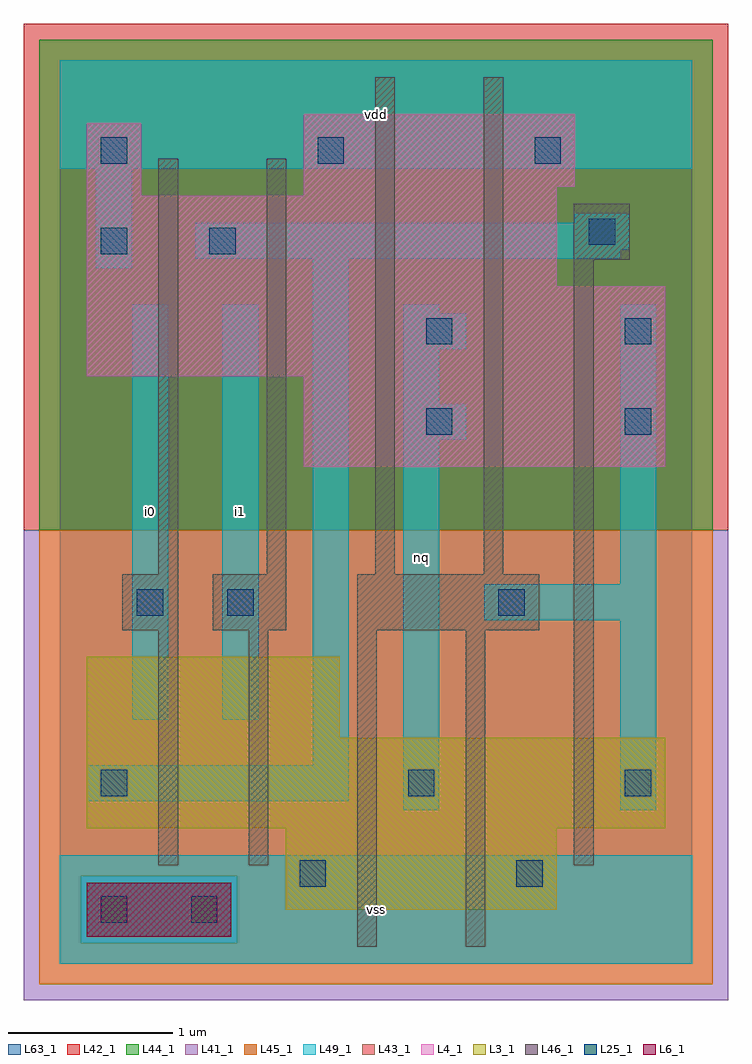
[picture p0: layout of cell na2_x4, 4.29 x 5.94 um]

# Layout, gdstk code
import gdstk
lib = gdstk.Library(unit=1e-6, precision=1e-09)
def R(c, l, rs):  # rectangles x0, y0, x1, y1
    for r in rs: c.add(gdstk.rectangle(r[:2], r[2:], *l))
def A(c, l, x, y, w, h, nx, ny, dx, dy):  # array of equal rectangles
    R(c, l, [(x+i*dx, y+j*dy, x+i*dx+w, y+j*dy+h) for i in range(nx) for j in range(ny)])
L3_1 = (3, 1)
L4_1 = (4, 1)
L6_1 = (6, 1)
L25_1 = (25, 1)
L41_1 = (41, 1)
L42_1 = (42, 1)
L43_1 = (43, 1)
L44_1 = (44, 1)
L45_1 = (45, 1)
L46_1 = (46, 1)
L49_1 = (49, 1)
L63_1 = (63, 1)

na2_x4 = lib.new_cell('na2_x4')
R(na2_x4, L3_1, [(1.375,0.33,3.025,0.825), (0.165,0.825,3.685,1.375), (0.165,1.375,1.705,1.87)])
R(na2_x4, L4_1, [(1.485,3.025,3.685,3.575), (0.165,3.575,3.685,4.125), (0.165,4.125,3.025,4.675), (0.165,4.675,0.495,5.115), (1.485,4.675,3.025,4.73), (1.485,4.73,3.135,5.17)])
R(na2_x4, L6_1, [(0.165,0.165,1.045,0.495)])
A(na2_x4, L25_1, 0.25, 4.87, 0.16, 0.16, 3, 1, 1.32, 0)
R(na2_x4, L25_1, [(0.25,0.25,0.41,0.41), (0.8,0.25,0.96,0.41), (1.46,0.47,1.62,0.63), (2.78,0.47,2.94,0.63), (0.25,1.02,0.41,1.18), (2.12,1.02,2.28,1.18), (3.44,1.02,3.6,1.18), (0.47,2.12,0.63,2.28), (1.02,2.12,1.18,2.28), (2.67,2.12,2.83,2.28), (2.23,3.22,2.39,3.38), (3.44,3.22,3.6,3.38), (2.23,3.77,2.39,3.93), (3.44,3.77,3.6,3.93), (0.25,4.32,0.41,4.48), (0.91,4.32,1.07,4.48), (3.22,4.375,3.38,4.535)])
R(na2_x4, L41_1, [(-0.22,-0.22,4.07,2.64)])
R(na2_x4, L42_1, [(-0.22,2.64,4.07,5.72)])
R(na2_x4, L43_1, [(0.165,0.165,1.045,0.495), (1.375,0.33,3.025,0.825), (0.165,0.825,3.685,1.375), (0.165,1.375,1.705,1.87), (1.485,3.025,3.685,3.575), (0.165,3.575,3.685,4.125), (0.165,4.125,3.025,4.675), (0.165,4.675,0.495,5.115), (1.485,4.675,3.025,4.73), (1.485,4.73,3.135,5.17)])
R(na2_x4, L44_1, [(0.125,0.125,1.085,0.535), (-0.125,2.64,3.975,5.625)])
R(na2_x4, L45_1, [(-0.125,-0.125,3.975,0.125), (-0.125,0.125,0.125,0.535), (1.085,0.125,3.975,0.535), (-0.125,0.535,3.975,2.64)])
R(na2_x4, L46_1, [(1.81,0.105,1.93,2.03), (2.47,0.105,2.59,2.03), (0.6,0.6,0.72,2.03), (1.15,0.6,1.27,2.03), (3.13,0.6,3.25,4.285), (0.38,2.03,0.72,2.37), (0.93,2.03,1.38,2.37), (1.81,2.03,2.92,2.37), (0.6,2.37,0.72,4.9), (1.26,2.37,1.38,4.9), (1.92,2.37,2.04,5.395), (2.58,2.37,2.7,5.395), (3.13,4.285,3.47,4.625)])
R(na2_x4, L49_1, [(0,0,3.85,0.66), (2.09,0.935,2.31,3.19), (3.41,0.935,3.63,2.09), (0.165,0.99,1.76,1.21), (1.54,1.21,1.76,4.29), (0.44,1.485,0.66,4.015), (0.99,1.485,1.21,4.015), (2.585,2.09,3.63,2.31), (3.41,2.31,3.63,4.015), (2.09,3.19,2.475,3.41), (2.09,3.41,2.31,3.74), (2.09,3.74,2.475,3.96), (2.09,3.96,2.31,4.015), (0.22,4.235,0.44,4.84), (0.825,4.29,3.41,4.345), (0.825,4.345,3.465,4.51), (3.135,4.51,3.465,4.565), (0,4.84,3.85,5.5)])
R(na2_x4, L63_1, [(0,0,3.85,5.5)])
na2_x4.add(gdstk.Label('i0', (0.55,2.75), layer=49, texttype=1))
na2_x4.add(gdstk.Label('i1', (1.1,2.75), layer=49, texttype=1))
na2_x4.add(gdstk.Label('vss', (1.925,0.33), layer=49, texttype=1))
na2_x4.add(gdstk.Label('nq', (2.2,2.475), layer=49, texttype=1))
na2_x4.add(gdstk.Label('vdd', (1.925,5.17), layer=49, texttype=1))

lib.write_gds('na2_x4.gds')
